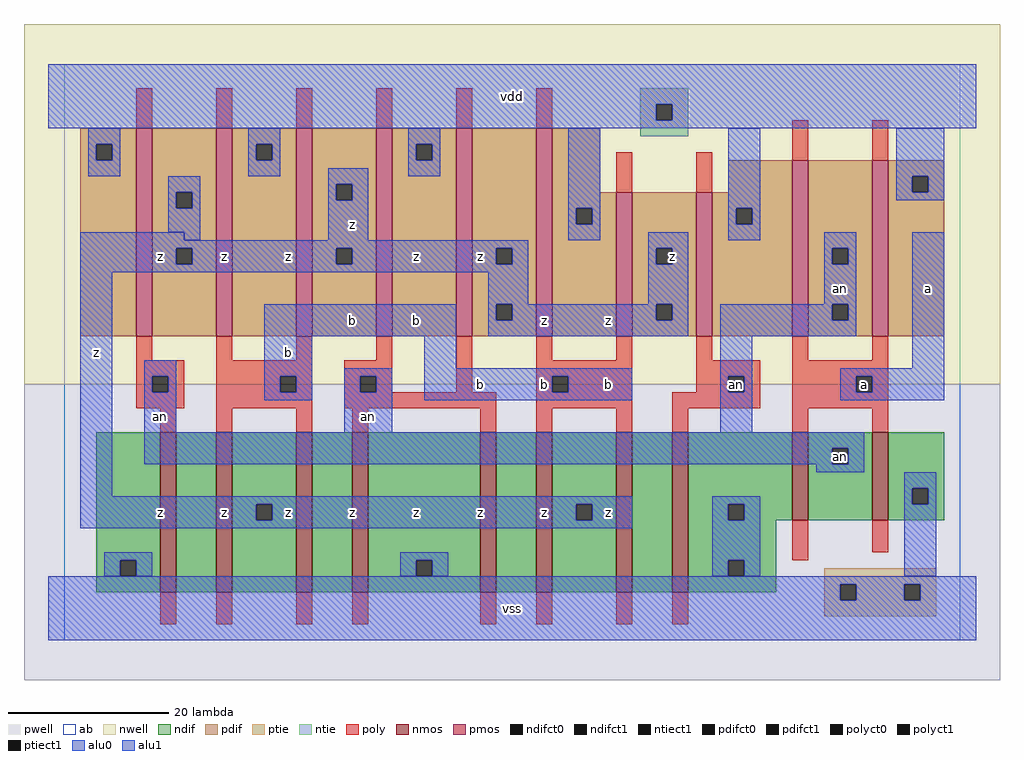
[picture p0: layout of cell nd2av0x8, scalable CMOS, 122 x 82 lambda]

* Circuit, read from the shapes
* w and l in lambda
.subckt nd2av0x8 a an b vdd vss z
M1 n1 an vss vss nfet w=20 l=2
M2 z b n1 vss nfet w=20 l=2
M3 n2 b z vss nfet w=20 l=2
M4 vss an n2 vss nfet w=20 l=2
M5 n3 an vss vss nfet w=20 l=2
M6 z b n3 vss nfet w=20 l=2
M7 n4 b z vss nfet w=20 l=2
M8 vss an n4 vss nfet w=20 l=2
M9 an a vss vss nfet w=11 l=2 m=2
M10 z an vdd vdd pfet w=26 l=2 m=3
M11 vdd b z vdd pfet w=26 l=2 m=3
M12 z b vdd vdd pfet w=18 l=2
M13 vdd an z vdd pfet w=18 l=2
M14 an a vdd vdd pfet w=22 l=2 m=2
.ends

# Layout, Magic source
magic
tech scmos
<< ab >>
rect 0 0 112 72
<< nwell >>
rect -5 32 117 77
<< pwell >>
rect -5 -5 117 32
<< poly >>
rect 9 64 11 69
rect 19 64 21 69
rect 29 64 31 69
rect 39 64 41 69
rect 49 64 51 69
rect 59 64 61 69
rect 69 56 71 61
rect 79 56 81 61
rect 91 60 93 65
rect 101 60 103 65
rect 9 35 11 38
rect 19 35 21 38
rect 29 35 31 38
rect 39 35 41 38
rect 9 33 15 35
rect 9 31 11 33
rect 13 31 15 33
rect 9 29 15 31
rect 19 33 31 35
rect 19 31 27 33
rect 29 31 31 33
rect 19 29 31 31
rect 35 33 41 35
rect 35 31 37 33
rect 39 31 41 33
rect 49 31 51 38
rect 59 35 61 38
rect 69 35 71 38
rect 59 33 71 35
rect 59 31 61 33
rect 63 31 71 33
rect 79 35 81 38
rect 91 35 93 38
rect 101 35 103 38
rect 79 33 87 35
rect 79 31 83 33
rect 85 31 87 33
rect 35 29 54 31
rect 12 26 14 29
rect 19 26 21 29
rect 29 26 31 29
rect 36 26 38 29
rect 52 26 54 29
rect 59 29 71 31
rect 59 26 61 29
rect 69 26 71 29
rect 76 29 87 31
rect 91 33 103 35
rect 91 31 99 33
rect 101 31 103 33
rect 91 29 103 31
rect 76 26 78 29
rect 91 26 93 29
rect 101 26 103 29
rect 91 10 93 15
rect 101 11 103 15
rect 12 2 14 6
rect 19 2 21 6
rect 29 2 31 6
rect 36 2 38 6
rect 52 2 54 6
rect 59 2 61 6
rect 69 2 71 6
rect 76 2 78 6
<< ndif >>
rect 4 10 12 26
rect 4 8 7 10
rect 9 8 12 10
rect 4 6 12 8
rect 14 6 19 26
rect 21 17 29 26
rect 21 15 24 17
rect 26 15 29 17
rect 21 6 29 15
rect 31 6 36 26
rect 38 10 52 26
rect 38 8 44 10
rect 46 8 52 10
rect 38 6 52 8
rect 54 6 59 26
rect 61 17 69 26
rect 61 15 64 17
rect 66 15 69 17
rect 61 6 69 15
rect 71 6 76 26
rect 78 17 91 26
rect 78 15 83 17
rect 85 15 91 17
rect 93 24 101 26
rect 93 22 96 24
rect 98 22 101 24
rect 93 15 101 22
rect 103 19 110 26
rect 103 17 106 19
rect 108 17 110 19
rect 103 15 110 17
rect 78 10 89 15
rect 78 8 83 10
rect 85 8 89 10
rect 78 6 89 8
<< pdif >>
rect 2 62 9 64
rect 2 60 4 62
rect 6 60 9 62
rect 2 38 9 60
rect 11 56 19 64
rect 11 54 14 56
rect 16 54 19 56
rect 11 49 19 54
rect 11 47 14 49
rect 16 47 19 49
rect 11 38 19 47
rect 21 62 29 64
rect 21 60 24 62
rect 26 60 29 62
rect 21 38 29 60
rect 31 57 39 64
rect 31 55 34 57
rect 36 55 39 57
rect 31 49 39 55
rect 31 47 34 49
rect 36 47 39 49
rect 31 38 39 47
rect 41 62 49 64
rect 41 60 44 62
rect 46 60 49 62
rect 41 38 49 60
rect 51 49 59 64
rect 51 47 54 49
rect 56 47 59 49
rect 51 42 59 47
rect 51 40 54 42
rect 56 40 59 42
rect 51 38 59 40
rect 61 56 67 64
rect 83 56 91 60
rect 61 54 69 56
rect 61 52 64 54
rect 66 52 69 54
rect 61 38 69 52
rect 71 49 79 56
rect 71 47 74 49
rect 76 47 79 49
rect 71 42 79 47
rect 71 40 74 42
rect 76 40 79 42
rect 71 38 79 40
rect 81 54 91 56
rect 81 52 84 54
rect 86 52 91 54
rect 81 38 91 52
rect 93 49 101 60
rect 93 47 96 49
rect 98 47 101 49
rect 93 42 101 47
rect 93 40 96 42
rect 98 40 101 42
rect 93 38 101 40
rect 103 58 110 60
rect 103 56 106 58
rect 108 56 110 58
rect 103 38 110 56
<< alu1 >>
rect -2 67 114 72
rect -2 65 74 67
rect 76 65 114 67
rect -2 64 114 65
rect 2 50 15 51
rect 33 57 38 59
rect 33 55 34 57
rect 36 55 38 57
rect 33 50 38 55
rect 2 49 58 50
rect 2 47 14 49
rect 16 47 34 49
rect 36 47 54 49
rect 56 47 58 49
rect 2 46 58 47
rect 2 18 6 46
rect 53 42 58 46
rect 73 49 78 51
rect 73 47 74 49
rect 76 47 78 49
rect 73 42 78 47
rect 25 38 49 42
rect 53 40 54 42
rect 56 40 74 42
rect 76 40 78 42
rect 53 38 78 40
rect 25 33 31 38
rect 45 34 49 38
rect 25 31 27 33
rect 29 31 31 33
rect 25 30 31 31
rect 45 33 71 34
rect 45 31 61 33
rect 63 31 71 33
rect 45 30 71 31
rect 106 34 110 51
rect 97 33 110 34
rect 97 31 99 33
rect 101 31 110 33
rect 97 30 110 31
rect 2 17 71 18
rect 2 15 24 17
rect 26 15 64 17
rect 66 15 71 17
rect 2 14 71 15
rect -2 7 114 8
rect -2 5 97 7
rect 99 5 105 7
rect 107 5 114 7
rect -2 0 114 5
<< ptie >>
rect 95 7 109 9
rect 95 5 97 7
rect 99 5 105 7
rect 107 5 109 7
rect 95 3 109 5
<< ntie >>
rect 72 67 78 69
rect 72 65 74 67
rect 76 65 78 67
rect 72 63 78 65
<< nmos >>
rect 12 6 14 26
rect 19 6 21 26
rect 29 6 31 26
rect 36 6 38 26
rect 52 6 54 26
rect 59 6 61 26
rect 69 6 71 26
rect 76 6 78 26
rect 91 15 93 26
rect 101 15 103 26
<< pmos >>
rect 9 38 11 64
rect 19 38 21 64
rect 29 38 31 64
rect 39 38 41 64
rect 49 38 51 64
rect 59 38 61 64
rect 69 38 71 56
rect 79 38 81 56
rect 91 38 93 60
rect 101 38 103 60
<< polyct0 >>
rect 11 31 13 33
rect 37 31 39 33
rect 83 31 85 33
<< polyct1 >>
rect 27 31 29 33
rect 61 31 63 33
rect 99 31 101 33
<< ndifct0 >>
rect 7 8 9 10
rect 44 8 46 10
rect 83 15 85 17
rect 96 22 98 24
rect 106 17 108 19
rect 83 8 85 10
<< ndifct1 >>
rect 24 15 26 17
rect 64 15 66 17
<< ntiect1 >>
rect 74 65 76 67
<< ptiect1 >>
rect 97 5 99 7
rect 105 5 107 7
<< pdifct0 >>
rect 4 60 6 62
rect 14 54 16 56
rect 24 60 26 62
rect 44 60 46 62
rect 64 52 66 54
rect 84 52 86 54
rect 96 47 98 49
rect 96 40 98 42
rect 106 56 108 58
<< pdifct1 >>
rect 14 47 16 49
rect 34 55 36 57
rect 34 47 36 49
rect 54 47 56 49
rect 54 40 56 42
rect 74 47 76 49
rect 74 40 76 42
<< alu0 >>
rect 3 62 7 64
rect 3 60 4 62
rect 6 60 7 62
rect 3 58 7 60
rect 23 62 27 64
rect 23 60 24 62
rect 26 60 27 62
rect 23 58 27 60
rect 43 62 47 64
rect 43 60 44 62
rect 46 60 47 62
rect 13 56 17 58
rect 13 54 14 56
rect 16 54 17 56
rect 13 51 17 54
rect 15 50 17 51
rect 43 58 47 60
rect 63 54 67 64
rect 63 52 64 54
rect 66 52 67 54
rect 63 50 67 52
rect 83 54 87 64
rect 104 58 110 64
rect 104 56 106 58
rect 108 56 110 58
rect 104 55 110 56
rect 83 52 84 54
rect 86 52 87 54
rect 83 50 87 52
rect 95 49 99 51
rect 95 47 96 49
rect 98 47 99 49
rect 95 42 99 47
rect 82 40 96 42
rect 98 40 99 42
rect 82 38 99 40
rect 10 33 14 35
rect 10 31 11 33
rect 13 31 14 33
rect 10 26 14 31
rect 35 33 41 34
rect 35 31 37 33
rect 39 31 41 33
rect 35 26 41 31
rect 82 33 86 38
rect 82 31 83 33
rect 85 31 86 33
rect 82 26 86 31
rect 10 24 100 26
rect 10 22 96 24
rect 98 22 100 24
rect 94 21 100 22
rect 105 19 109 21
rect 81 17 87 18
rect 81 15 83 17
rect 85 15 87 17
rect 5 10 11 11
rect 5 8 7 10
rect 9 8 11 10
rect 42 10 48 11
rect 42 8 44 10
rect 46 8 48 10
rect 81 10 87 15
rect 81 8 83 10
rect 85 8 87 10
rect 105 17 106 19
rect 108 17 109 19
rect 105 8 109 17
<< labels >>
rlabel alu0 12 28 12 28 6 an
rlabel alu0 38 28 38 28 6 an
rlabel ndifct0 97 23 97 23 6 an
rlabel alu0 97 44 97 44 6 an
rlabel polyct0 84 32 84 32 6 an
rlabel alu1 12 16 12 16 6 z
rlabel alu1 4 36 4 36 6 z
rlabel alu1 12 48 12 48 6 z
rlabel alu1 28 16 28 16 6 z
rlabel alu1 36 16 36 16 6 z
rlabel alu1 20 16 20 16 6 z
rlabel alu1 36 40 36 40 6 b
rlabel alu1 28 36 28 36 6 b
rlabel alu1 20 48 20 48 6 z
rlabel alu1 36 52 36 52 6 z
rlabel alu1 28 48 28 48 6 z
rlabel alu1 56 4 56 4 6 vss
rlabel alu1 52 16 52 16 6 z
rlabel alu1 60 16 60 16 6 z
rlabel alu1 44 16 44 16 6 z
rlabel alu1 52 32 52 32 6 b
rlabel alu1 60 32 60 32 6 b
rlabel alu1 44 40 44 40 6 b
rlabel alu1 60 40 60 40 6 z
rlabel alu1 44 48 44 48 6 z
rlabel alu1 52 48 52 48 6 z
rlabel alu1 56 68 56 68 6 vdd
rlabel alu1 68 16 68 16 6 z
rlabel alu1 68 32 68 32 6 b
rlabel alu1 68 40 68 40 6 z
rlabel alu1 76 48 76 48 6 z
rlabel polyct1 100 32 100 32 6 a
rlabel alu1 108 44 108 44 6 a
<< end >>
